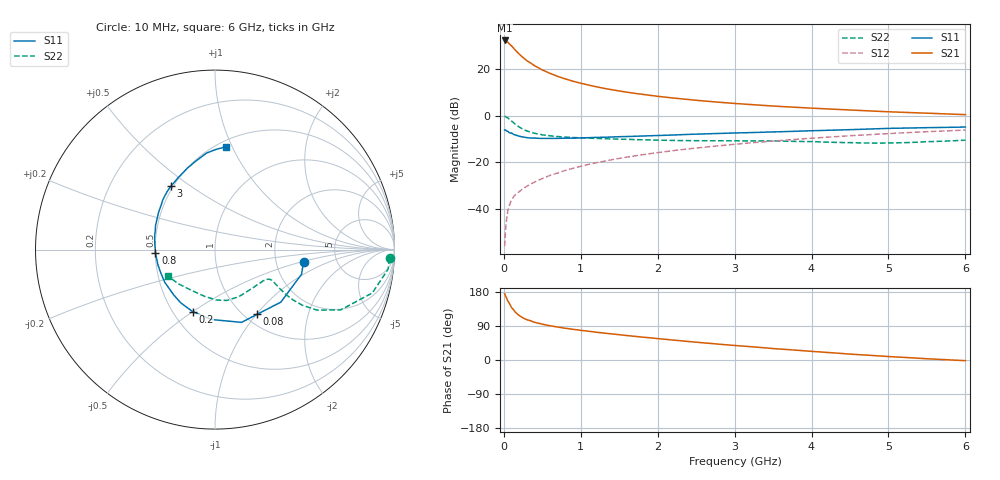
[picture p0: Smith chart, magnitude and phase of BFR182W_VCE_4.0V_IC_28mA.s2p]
! Infineon Technologies  Discrete & RF Semiconductors
! BFR182W
! VCE =  4.0 V,  IC =  28 mA
! Common Emitter S-Parameters:  Jan 2017
# GHz  S  MA  R  50
!  f  S11  S21  S12  S22
! GHz  MAG  ANG  MAG  ANG  MAG  ANG  MAG  ANG
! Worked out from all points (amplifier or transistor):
!   77 points, 10 MHz to 6 GHz, reference 50 ohm
!   highest |S21| = 32.4 dB at 10 MHz (marker M1)
!   |S21| within 3 dB of that: start of sweep to 118.2 MHz
!   unconditionally stable (mu >= 1): 656.5 MHz to 2.258 GHz
!   at 130 MHz: K = 0.49, MSG = 31.8 dB, |S12| = -34.6 dB
!   at 2.2 GHz: K = 1.01, MAG = 10.9 dB, |S12| = -14.9 dB
!   at 6 GHz: K = 0.86, MSG = 3.3 dB, |S12| = -6.1 dB
!   S11 on the Smith chart (normalised r, x): 10 MHz: 2.88, -0.52; 80 MHz: 1.14, -1.01; 200 MHz: 0.62, -0.50; 800 MHz: 0.50, -0.02; 3 GHz: 0.49, +0.42; 6 GHz: 0.55, +0.95
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0.01  0.4983 -7.9  41.59 174.7  0.0016 82.8  0.974 -2.9
0.02  0.5013 -15.9  41.48 170.1  0.0031 89.1  0.9705 -6.5
0.05  0.4693 -38.6  38.45 156.4  0.009 76.6  0.9094 -15.4
0.08  0.4304 -56.9  34.04 146.4  0.0131 70.9  0.8259 -21.2
0.1  0.4315 -70.0  31.8 138.3  0.0158 68.7  0.7757 -25.7
0.15  0.39 -93.1  25.75 125.9  0.0204 65.8  0.6594 -30.7
0.2  0.367 -109.9  21.17 117.3  0.0236 65.8  0.5764 -32.5
0.25  0.3527 -122.9  17.84 110.9  0.0276 64.7  0.5176 -32.8
0.3  0.3412 -132.6  15.29 106.3  0.031 66.0  0.4742 -32.4
0.4  0.334 -146.8  11.91 99.4  0.038 67.5  0.4233 -31.1
0.5  0.3289 -156.9  9.686 94.5  0.0452 69.7  0.3923 -29.8
0.6  0.3292 -165.0  8.176 90.4  0.0529 70.2  0.3738 -29.0
0.8  0.3323 -176.6  6.222 83.8  0.0678 71.9  0.3514 -28.4
0.9  0.3335 178.5  5.544 81.0  0.0751 72.1  0.3438 -28.7
1.1  0.341 170.5  4.593 75.9  0.0909 72.4  0.3337 -29.8
1.5  0.3577 157.8  3.425 66.8  0.1223 71.2  0.3169 -34.4
2.1  0.3839 142.7  2.527 54.6  0.1709 67.8  0.2995 -45.4
3  0.4301 124.9  1.85 38.3  0.2459 61.1  0.2922 -66.1
3.1  0.4338 123.1  1.803 36.8  0.2543 60.2  0.2911 -68.3
4.1  0.4852 107.0  1.44 21.4  0.3404 51.4  0.2769 -91.2
5.1  0.5432 93.8  1.209 8.0  0.4247 41.3  0.2638 -123.5
6  0.5763 83.9  1.065 -1.8  0.4961 31.9  0.3014 -151.0
